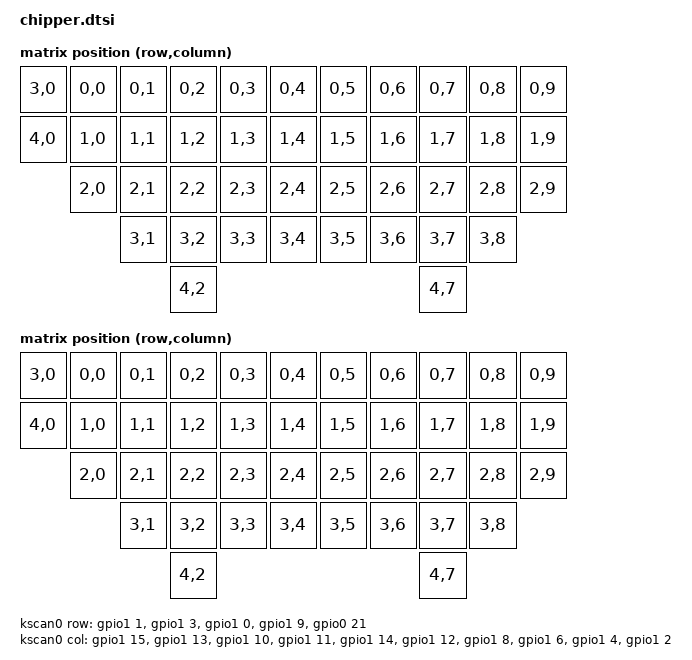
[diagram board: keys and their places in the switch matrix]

#include <dt-bindings/zmk/matrix_transform.h>

/ {
	chosen {
		zmk,kscan = &kscan0;
		zmk,matrix_transform = &default_transform;
	};

	default_transform: keymap_transform_0 {
		compatible = "zmk,matrix-transform";
		columns = <9>;
		rows = <4>;
//   | SW1 |      | SW1  | SW2  | SW3  | SW4  | SW5  |      | SW1  | SW2  | SW3  | SW4  | SW5  | 
//   | SW2 |      | SW6  | SW7  | SW8  | SW9  | SW10 |      | SW6  | SW7  | SW8  | SW9  | SW10 |  
//                       | SW11 | SW12 | SW13 | SW14 |      | SW11 | SW12 | SW13 | SW14 |   
//                              | SW15 |   								  | SW15 |
		map = <
RC(3,0)		RC(0,0) RC(0,1) RC(0,2) RC(0,3) RC(0,4)     RC(0,5) RC(0,6) RC(0,7) RC(0,8) RC(0,9)
RC(4,0) 	RC(1,0) RC(1,1) RC(1,2) RC(1,3) RC(1,4)     RC(1,5) RC(1,6) RC(1,7) RC(1,8) RC(1,9)
			RC(2,0) RC(2,1) RC(2,2) RC(2,3) RC(2,4) 	RC(2,5) RC(2,6) RC(2,7) RC(2,8) RC(2,9)
                    RC(3,1) RC(3,2) RC(3,3) RC(3,4)		RC(3,5) RC(3,6) RC(3,7) RC(3,8)
						    RC(4,2)							            RC(4,7)
		>;
	};

	five_column_transform: keymap_transform_1 {
		compatible = "zmk,matrix-transform";
		columns = <9>;
		rows = <4>;
//   | SW1 |      | SW1  | SW2  | SW3  | SW4  | SW5  |      | SW1  | SW2  | SW3  | SW4  | SW5  | 
//   | SW2 |      | SW6  | SW7  | SW8  | SW9  | SW10 |      | SW6  | SW7  | SW8  | SW9  | SW10 |  
//                       | SW11 | SW12 | SW13 | SW14 |      | SW11 | SW12 | SW13 | SW14 |   
//                              | SW15 |   								  | SW15 |
		map = <
RC(3,0)		RC(0,0) RC(0,1) RC(0,2) RC(0,3) RC(0,4)     RC(0,5) RC(0,6) RC(0,7) RC(0,8) RC(0,9)
RC(4,0) 	RC(1,0) RC(1,1) RC(1,2) RC(1,3) RC(1,4)     RC(1,5) RC(1,6) RC(1,7) RC(1,8) RC(1,9)
			RC(2,0) RC(2,1) RC(2,2) RC(2,3) RC(2,4) 	RC(2,5) RC(2,6) RC(2,7) RC(2,8) RC(2,9)
                    RC(3,1) RC(3,2) RC(3,3) RC(3,4)		RC(3,5) RC(3,6) RC(3,7) RC(3,8)
						    RC(4,2)							            RC(4,7)
		>;
	};

	kscan0: kscan {
		compatible = "zmk,kscan-gpio-matrix";
		label = "KSCAN";

		diode-direction = "col2row";
		row-gpios
			= <&gpio1 1 (GPIO_ACTIVE_HIGH | GPIO_PULL_DOWN)>     //Row1
			, <&gpio1 3 (GPIO_ACTIVE_HIGH | GPIO_PULL_DOWN)>     //Row2
			, <&gpio1 0 (GPIO_ACTIVE_HIGH | GPIO_PULL_DOWN)>    //Row3
			, <&gpio1 9 (GPIO_ACTIVE_HIGH | GPIO_PULL_DOWN)>    //Row4
			, <&gpio0 21 (GPIO_ACTIVE_HIGH | GPIO_PULL_DOWN)>    //Row5
			;

		col-gpios
			= <&gpio1 15 GPIO_ACTIVE_HIGH>   //Col1
			, <&gpio1 13 GPIO_ACTIVE_HIGH>   //Col2
			, <&gpio1 10 GPIO_ACTIVE_HIGH>   //Col3
			, <&gpio1 11 GPIO_ACTIVE_HIGH>   //Col4
			, <&gpio1 14 GPIO_ACTIVE_HIGH>   //Col5
			, <&gpio1 12 GPIO_ACTIVE_HIGH>   //Col6
			, <&gpio1 8 GPIO_ACTIVE_HIGH>   //Col7
			, <&gpio1 6 GPIO_ACTIVE_HIGH>   //Col8
			, <&gpio1 4 GPIO_ACTIVE_HIGH>   //Col9
			, <&gpio1 2 GPIO_ACTIVE_HIGH>   //Col10
			;

	};
   
	// TODO: per-key RGB node(s)?
};





&pinctrl {
       i2c0_default: i2c0_default {
               group1 {
                       psels = <NRF_PSEL(TWIM_SDA, 0, 26)>,
                               <NRF_PSEL(TWIM_SCL, 0, 20)>;
               };
       };

       i2c0_sleep: i2c0_sleep {
               group1 {
                       psels = <NRF_PSEL(TWIM_SDA, 0, 26)>,
                               <NRF_PSEL(TWIM_SCL, 0, 20)>;
                       low-power-enable;
               };
       };
};


display_i2c: &i2c0 {
    compatible = "nordic,nrf-twi";
    pinctrl-0 = <&i2c0_default>;
    pinctrl-1 = <&i2c0_sleep>;
    pinctrl-names = "default", "sleep";
 };

&display_i2c {
 	status = "okay";
	oled: ssd1306@3c {
		compatible = "solomon,ssd1306fb";
		reg = <0x3c>;
		label = "DISPLAY";
		width = <128>;
		height = <32>;
		segment-offset = <0>;
		page-offset = <0>;
		display-offset = <0>;
		multiplex-ratio = <31>;
		segment-remap;
		com-invdir;
		inversion-on;
		com-sequential;
		prechargep = <0x22>;
	};
};

/ {
  chosen {
    zephyr,display = &oled;
  };
};

